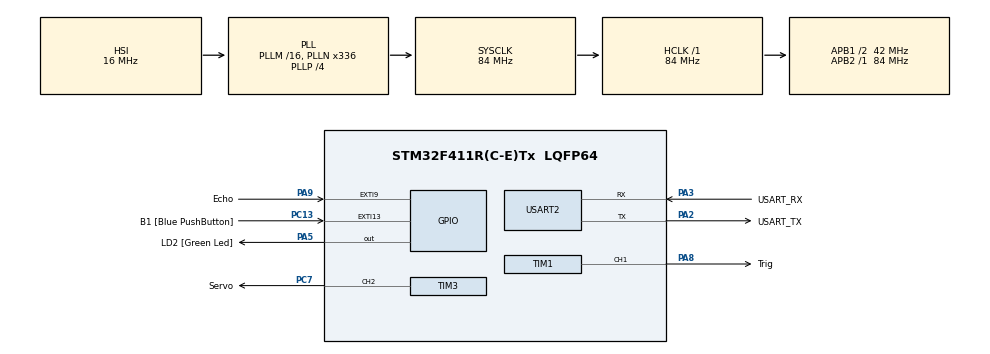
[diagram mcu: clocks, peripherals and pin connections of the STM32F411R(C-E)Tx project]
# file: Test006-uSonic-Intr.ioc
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Mcu.Family=STM32F4
Mcu.Name=STM32F411R(C-E)Tx
Mcu.Package=LQFP64
NVIC.EXTI9_5_IRQn=true\:0\:0\:false\:false\:true\:true\:true\:true
NVIC.PriorityGroup=NVIC_PRIORITYGROUP_0
PA13.GPIO_Label=TMS
PA13.Mode=Serial_Wire
PA13.Signal=SYS_JTMS-SWDIO
PA14.GPIO_Label=TCK
PA14.Mode=Serial_Wire
PA14.Signal=SYS_JTCK-SWCLK
PA2.GPIO_Label=USART_TX
PA2.Mode=Asynchronous
PA2.Signal=USART2_TX
PA3.GPIO_Label=USART_RX
PA3.Mode=Asynchronous
PA3.Signal=USART2_RX
PA5.GPIO_Label=LD2 [Green Led]
PA5.Signal=GPIO_Output
PA8.GPIO_Label=Trig
PA8.Signal=S_TIM1_CH1
PA9.GPIO_Label=Echo
PA9.GPIO_ModeDefaultEXTI=GPIO_MODE_IT_RISING_FALLING
PA9.Signal=GPXTI9
PB3.GPIO_Label=SWO
PB3.Signal=SYS_JTDO-SWO
PC13-ANTI_TAMP.GPIO_Label=B1 [Blue PushButton]
PC13-ANTI_TAMP.GPIO_ModeDefaultEXTI=GPIO_MODE_IT_FALLING
PC13-ANTI_TAMP.Signal=GPXTI13
PC14-OSC32_IN.Mode=LSE-External-Oscillator
PC14-OSC32_IN.Signal=RCC_OSC32_IN
PC15-OSC32_OUT.Mode=LSE-External-Oscillator
PC15-OSC32_OUT.Signal=RCC_OSC32_OUT
PC7.GPIO_Label=Servo
PC7.Signal=S_TIM3_CH2
PH0\ -\ OSC_IN.Mode=HSE-External-Clock-Source
PH0\ -\ OSC_IN.Signal=RCC_OSC_IN
PH1\ -\ OSC_OUT.Mode=HSE-External-Clock-Source
PH1\ -\ OSC_OUT.Signal=RCC_OSC_OUT
ProjectManager.HeapSize=0x200
ProjectManager.StackSize=0x400
ProjectManager.TargetToolchain=STM32CubeIDE
RCC.48MHZClocksFreq_Value=84000000
RCC.AHBFreq_Value=84000000
RCC.APB1CLKDivider=RCC_HCLK_DIV2
RCC.APB1Freq_Value=42000000
RCC.APB1TimFreq_Value=84000000
RCC.APB2Freq_Value=84000000
RCC.APB2TimFreq_Value=84000000
RCC.CortexFreq_Value=84000000
RCC.FLatency-AdvancedSettings=FLASH_LATENCY_2
RCC.HCLKFreq_Value=84000000
RCC.HSE_VALUE=8000000
RCC.HSI_VALUE=16000000
RCC.PLLN=336
RCC.PLLP=RCC_PLLP_DIV4
RCC.SYSCLKFreq_VALUE=84000000
RCC.SYSCLKSource=RCC_SYSCLKSOURCE_PLLCLK
RCC.VCOOutputFreq_Value=336000000
SH.S_TIM1_CH1.0=TIM1_CH1,PWM Generation1 CH1
SH.S_TIM3_CH2.0=TIM3_CH2,PWM Generation2 CH2
TIM1.Channel-PWM\ Generation1\ CH1=TIM_CHANNEL_1
TIM1.Period=60000-1
TIM1.Prescaler=84-1
TIM2.Prescaler=84-1
TIM3.Channel-PWM\ Generation2\ CH2=TIM_CHANNEL_2
TIM3.Period=40000-1
TIM3.Prescaler=42-1
USART2.VirtualMode=VM_ASYNC
VP_TIM2_VS_ClockSourceINT.Mode=Internal
VP_TIM3_VS_ClockSourceINT.Mode=Internal
board=NUCLEO-F411RE

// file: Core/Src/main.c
/* USER CODE BEGIN Header */
/**
  ******************************************************************************
  * @file           : main.c
  * @brief          : Main program body
  ******************************************************************************
  * @attention
  *
  * Copyright (c) 2025 STMicroelectronics.
  * All rights reserved.
  *
  * This software is licensed under terms that can be found in the LICENSE file
  * in the root directory of this software component.
  * If no LICENSE file comes with this software, it is provided AS-IS.
  *
  ******************************************************************************
  */
/* USER CODE END Header */
#include "main.h"

TIM_HandleTypeDef htim1;
TIM_HandleTypeDef htim2;
TIM_HandleTypeDef htim3;

UART_HandleTypeDef huart2;

void SystemClock_Config(void);
static void MX_GPIO_Init(void);
static void MX_USART2_UART_Init(void);
static void MX_TIM2_Init(void);
static void MX_TIM3_Init(void);
static void MX_TIM1_Init(void);

/* USER CODE BEGIN 0 */
double dist = 0.0;
void HAL_GPIO_EXTI_Callback(uint16_t GPIO_Pin)
{
	switch(GPIO_Pin) {
	case Echo_Pin:
		if(HAL_GPIO_ReadPin(Echo_GPIO_Port, Echo_Pin)) {
			htim2.Instance->CNT = 0;
		}
		else {
			if(htim2.Instance->CNT > 60000) {
				dist = -1;
			}
			else {
				dist = htim2.Instance->CNT * 0.17;
			}
		}
		break;
  }
}
/* USER CODE END 0 */

int main(void)
{

  /* MCU Configuration--------------------------------------------------------*/

  /* Reset of all peripherals, Initializes the Flash interface and the Systick. */
  HAL_Init();

  /* Configure the system clock */
  SystemClock_Config();

  /* Initialize all configured peripherals */
  MX_GPIO_Init();
  MX_USART2_UART_Init();
  MX_TIM2_Init();
  MX_TIM3_Init();
  MX_TIM1_Init();
  /* USER CODE BEGIN 2 */
  ProgramStart("uSonic Test - GPIO Interrupt (with Servo Motor");
  HAL_TIM_Base_Start(&htim2);
  HAL_TIM_PWM_Start(&htim1, TIM_CHANNEL_1);
  HAL_TIM_PWM_Start(&htim3, TIM_CHANNEL_2);
  htim1.Instance->CCR1 = 10;
  /* USER CODE END 2 */

  /* Infinite loop */
  /* USER CODE BEGIN WHILE */
  int min = 850, max = 5150;
  while (1)
  {
	  int iDist = (int) (dist /10);
	  Cursor(0, 5);
	  printf("Distance : %d cm\r\n", iDist);
	  if(iDist < 0) {
		  htim3.Instance->CCR2 = min;
	  }
	  else if(iDist < 50) {
		  htim3.Instance->CCR2 = max;
	  }
	  else {
		  htim3.Instance->CCR2 = min;
	  }
	  HAL_Delay(200);
    /* USER CODE END WHILE */

  }
}

void SystemClock_Config(void)
{
  RCC_OscInitTypeDef RCC_OscInitStruct = {0};
  RCC_ClkInitTypeDef RCC_ClkInitStruct = {0};

  /** Configure the main internal regulator output voltage
  */
  __HAL_RCC_PWR_CLK_ENABLE();
  __HAL_PWR_VOLTAGESCALING_CONFIG(PWR_REGULATOR_VOLTAGE_SCALE1);

  /** Initializes the RCC Oscillators according to the specified parameters
  * in the RCC_OscInitTypeDef structure.
  */
  RCC_OscInitStruct.OscillatorType = RCC_OSCILLATORTYPE_HSI;
  RCC_OscInitStruct.HSIState = RCC_HSI_ON;
  RCC_OscInitStruct.HSICalibrationValue = RCC_HSICALIBRATION_DEFAULT;
  RCC_OscInitStruct.PLL.PLLState = RCC_PLL_ON;
  RCC_OscInitStruct.PLL.PLLSource = RCC_PLLSOURCE_HSI;
  RCC_OscInitStruct.PLL.PLLM = 16;
  RCC_OscInitStruct.PLL.PLLN = 336;
  RCC_OscInitStruct.PLL.PLLP = RCC_PLLP_DIV4;
  RCC_OscInitStruct.PLL.PLLQ = 4;
  if (HAL_RCC_OscConfig(&RCC_OscInitStruct) != HAL_OK)
  {
    Error_Handler();
  }

  /** Initializes the CPU, AHB and APB buses clocks
  */
  RCC_ClkInitStruct.ClockType = RCC_CLOCKTYPE_HCLK|RCC_CLOCKTYPE_SYSCLK
                              |RCC_CLOCKTYPE_PCLK1|RCC_CLOCKTYPE_PCLK2;
  RCC_ClkInitStruct.SYSCLKSource = RCC_SYSCLKSOURCE_PLLCLK;
  RCC_ClkInitStruct.AHBCLKDivider = RCC_SYSCLK_DIV1;
  RCC_ClkInitStruct.APB1CLKDivider = RCC_HCLK_DIV2;
  RCC_ClkInitStruct.APB2CLKDivider = RCC_HCLK_DIV1;

  if (HAL_RCC_ClockConfig(&RCC_ClkInitStruct, FLASH_LATENCY_2) != HAL_OK)
  {
    Error_Handler();
  }
}

static void MX_TIM1_Init(void)
{

  TIM_MasterConfigTypeDef sMasterConfig = {0};
  TIM_OC_InitTypeDef sConfigOC = {0};
  TIM_BreakDeadTimeConfigTypeDef sBreakDeadTimeConfig = {0};

  htim1.Instance = TIM1;
  htim1.Init.Prescaler = 84-1;
  htim1.Init.CounterMode = TIM_COUNTERMODE_UP;
  htim1.Init.Period = 60000-1;
  htim1.Init.ClockDivision = TIM_CLOCKDIVISION_DIV1;
  htim1.Init.RepetitionCounter = 0;
  htim1.Init.AutoReloadPreload = TIM_AUTORELOAD_PRELOAD_DISABLE;
  if (HAL_TIM_PWM_Init(&htim1) != HAL_OK)
  {
    Error_Handler();
  }
  sMasterConfig.MasterOutputTrigger = TIM_TRGO_RESET;
  sMasterConfig.MasterSlaveMode = TIM_MASTERSLAVEMODE_DISABLE;
  if (HAL_TIMEx_MasterConfigSynchronization(&htim1, &sMasterConfig) != HAL_OK)
  {
    Error_Handler();
  }
  sConfigOC.OCMode = TIM_OCMODE_PWM1;
  sConfigOC.Pulse = 0;
  sConfigOC.OCPolarity = TIM_OCPOLARITY_HIGH;
  sConfigOC.OCNPolarity = TIM_OCNPOLARITY_HIGH;
  sConfigOC.OCFastMode = TIM_OCFAST_DISABLE;
  sConfigOC.OCIdleState = TIM_OCIDLESTATE_RESET;
  sConfigOC.OCNIdleState = TIM_OCNIDLESTATE_RESET;
  if (HAL_TIM_PWM_ConfigChannel(&htim1, &sConfigOC, TIM_CHANNEL_1) != HAL_OK)
  {
    Error_Handler();
  }
  sBreakDeadTimeConfig.OffStateRunMode = TIM_OSSR_DISABLE;
  sBreakDeadTimeConfig.OffStateIDLEMode = TIM_OSSI_DISABLE;
  sBreakDeadTimeConfig.LockLevel = TIM_LOCKLEVEL_OFF;
  sBreakDeadTimeConfig.DeadTime = 0;
  sBreakDeadTimeConfig.BreakState = TIM_BREAK_DISABLE;
  sBreakDeadTimeConfig.BreakPolarity = TIM_BREAKPOLARITY_HIGH;
  sBreakDeadTimeConfig.AutomaticOutput = TIM_AUTOMATICOUTPUT_DISABLE;
  if (HAL_TIMEx_ConfigBreakDeadTime(&htim1, &sBreakDeadTimeConfig) != HAL_OK)
  {
    Error_Handler();
  }
  HAL_TIM_MspPostInit(&htim1);

}

static void MX_TIM2_Init(void)
{

  TIM_ClockConfigTypeDef sClockSourceConfig = {0};
  TIM_MasterConfigTypeDef sMasterConfig = {0};

  htim2.Instance = TIM2;
  htim2.Init.Prescaler = 84-1;
  htim2.Init.CounterMode = TIM_COUNTERMODE_UP;
  htim2.Init.Period = 4294967295;
  htim2.Init.ClockDivision = TIM_CLOCKDIVISION_DIV1;
  htim2.Init.AutoReloadPreload = TIM_AUTORELOAD_PRELOAD_DISABLE;
  if (HAL_TIM_Base_Init(&htim2) != HAL_OK)
  {
    Error_Handler();
  }
  sClockSourceConfig.ClockSource = TIM_CLOCKSOURCE_INTERNAL;
  if (HAL_TIM_ConfigClockSource(&htim2, &sClockSourceConfig) != HAL_OK)
  {
    Error_Handler();
  }
  sMasterConfig.MasterOutputTrigger = TIM_TRGO_RESET;
  sMasterConfig.MasterSlaveMode = TIM_MASTERSLAVEMODE_DISABLE;
  if (HAL_TIMEx_MasterConfigSynchronization(&htim2, &sMasterConfig) != HAL_OK)
  {
    Error_Handler();
  }

}

static void MX_TIM3_Init(void)
{

  TIM_ClockConfigTypeDef sClockSourceConfig = {0};
  TIM_MasterConfigTypeDef sMasterConfig = {0};
  TIM_OC_InitTypeDef sConfigOC = {0};

  htim3.Instance = TIM3;
  htim3.Init.Prescaler = 42-1;
  htim3.Init.CounterMode = TIM_COUNTERMODE_UP;
  htim3.Init.Period = 40000-1;
  htim3.Init.ClockDivision = TIM_CLOCKDIVISION_DIV1;
  htim3.Init.AutoReloadPreload = TIM_AUTORELOAD_PRELOAD_DISABLE;
  if (HAL_TIM_Base_Init(&htim3) != HAL_OK)
  {
    Error_Handler();
  }
  sClockSourceConfig.ClockSource = TIM_CLOCKSOURCE_INTERNAL;
  if (HAL_TIM_ConfigClockSource(&htim3, &sClockSourceConfig) != HAL_OK)
  {
    Error_Handler();
  }
  if (HAL_TIM_PWM_Init(&htim3) != HAL_OK)
  {
    Error_Handler();
  }
  sMasterConfig.MasterOutputTrigger = TIM_TRGO_RESET;
  sMasterConfig.MasterSlaveMode = TIM_MASTERSLAVEMODE_DISABLE;
  if (HAL_TIMEx_MasterConfigSynchronization(&htim3, &sMasterConfig) != HAL_OK)
  {
    Error_Handler();
  }
  sConfigOC.OCMode = TIM_OCMODE_PWM1;
  sConfigOC.Pulse = 0;
  sConfigOC.OCPolarity = TIM_OCPOLARITY_HIGH;
  sConfigOC.OCFastMode = TIM_OCFAST_DISABLE;
  if (HAL_TIM_PWM_ConfigChannel(&htim3, &sConfigOC, TIM_CHANNEL_2) != HAL_OK)
  {
    Error_Handler();
  }
  HAL_TIM_MspPostInit(&htim3);

}

static void MX_USART2_UART_Init(void)
{

  huart2.Instance = USART2;
  huart2.Init.BaudRate = 115200;
  huart2.Init.WordLength = UART_WORDLENGTH_8B;
  huart2.Init.StopBits = UART_STOPBITS_1;
  huart2.Init.Parity = UART_PARITY_NONE;
  huart2.Init.Mode = UART_MODE_TX_RX;
  huart2.Init.HwFlowCtl = UART_HWCONTROL_NONE;
  huart2.Init.OverSampling = UART_OVERSAMPLING_16;
  if (HAL_UART_Init(&huart2) != HAL_OK)
  {
    Error_Handler();
  }

}

static void MX_GPIO_Init(void)
{
  GPIO_InitTypeDef GPIO_InitStruct = {0};

  /* GPIO Ports Clock Enable */
  __HAL_RCC_GPIOC_CLK_ENABLE();
  __HAL_RCC_GPIOH_CLK_ENABLE();
  __HAL_RCC_GPIOA_CLK_ENABLE();
  __HAL_RCC_GPIOB_CLK_ENABLE();

  /*Configure GPIO pin Output Level */
  HAL_GPIO_WritePin(LD2_GPIO_Port, LD2_Pin, GPIO_PIN_RESET);

  /*Configure GPIO pin : B1_Pin */
  GPIO_InitStruct.Pin = B1_Pin;
  GPIO_InitStruct.Mode = GPIO_MODE_IT_FALLING;
  GPIO_InitStruct.Pull = GPIO_NOPULL;
  HAL_GPIO_Init(B1_GPIO_Port, &GPIO_InitStruct);

  /*Configure GPIO pin : LD2_Pin */
  GPIO_InitStruct.Pin = LD2_Pin;
  GPIO_InitStruct.Mode = GPIO_MODE_OUTPUT_PP;
  GPIO_InitStruct.Pull = GPIO_NOPULL;
  GPIO_InitStruct.Speed = GPIO_SPEED_FREQ_LOW;
  HAL_GPIO_Init(LD2_GPIO_Port, &GPIO_InitStruct);

  /*Configure GPIO pin : Echo_Pin */
  GPIO_InitStruct.Pin = Echo_Pin;
  GPIO_InitStruct.Mode = GPIO_MODE_IT_RISING_FALLING;
  GPIO_InitStruct.Pull = GPIO_NOPULL;
  HAL_GPIO_Init(Echo_GPIO_Port, &GPIO_InitStruct);

  /* EXTI interrupt init*/
  HAL_NVIC_SetPriority(EXTI9_5_IRQn, 0, 0);
  HAL_NVIC_EnableIRQ(EXTI9_5_IRQn);

}

void Error_Handler(void)
{
  __disable_irq();
  while (1)
  {
  }
}
